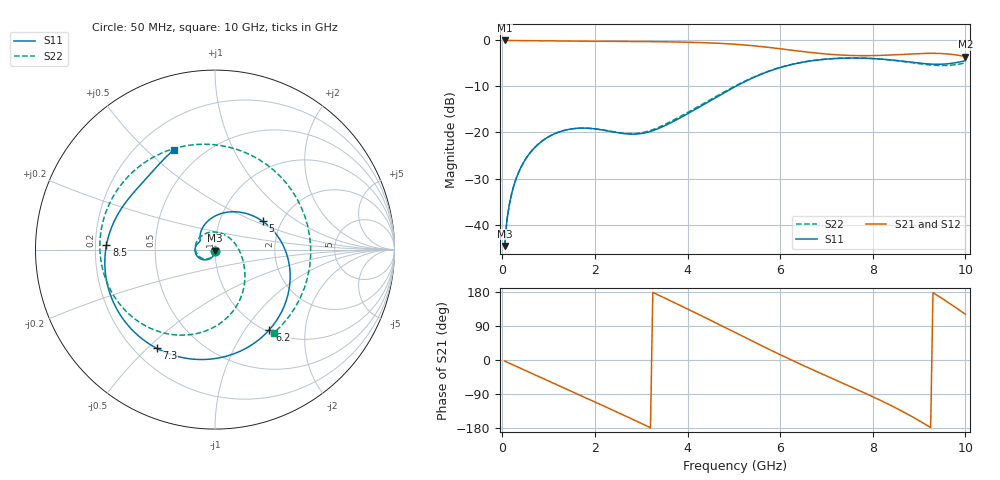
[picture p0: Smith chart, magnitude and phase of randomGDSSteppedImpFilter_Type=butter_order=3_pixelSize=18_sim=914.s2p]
! freq	dB(S11)	phase(S11)	dB(S12)	phase(S12)
!  dB(S21)	phase(S21)	dB(S22)	phase(S22)
!S-par simulation data
#  GHz  S  DB  R 50
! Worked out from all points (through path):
!   200 points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, 50 MHz to 10 GHz, reference 50 ohm
!   highest |S21| = -0.02 dB at 50 MHz (marker M1); lowest = -3.5 dB at 10 GHz (marker M2)
!   group delay of S21, straight-line fit = 163 ps
!   lowest |S11| = -44.7 dB at 50 MHz (marker M3), VSWR 1.01, Z = 50.2 - j0.564 ohm
!   |S11| at or under -10 dB: start of sweep to 5.037 GHz
!   |S22| runs from -44.7 to -3.8 dB; largest |S21 - S12| = 0
!   S11 on the Smith chart (normalised r, x): 50 MHz: 1.00, -0.01; 5 GHz: 1.60, +0.56; 6.2 GHz: 1.04, -1.30; 7.3 GHz: 0.29, -0.53; 8.5 GHz: 0.25, +0.02; 10 GHz: 0.35, +0.61
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0.05  -44.67 -74.3  -0.02 -2.8  -0.02 -2.8  -44.69 -74.3
0.1  -39.08 -84.0  -0.03 -5.6  -0.03 -5.6  -39.11 -84.5
0.2  -33.36 -94.7  -0.04 -11.2  -0.04 -11.2  -33.38 -95.9
0.5  -25.83 -114.7  -0.06 -27.8  -0.06 -27.8  -25.85 -117.7
1.15  -20.18 -149.5  -0.13 -63.7  -0.13 -63.7  -20.19 -158.4
1.75  -19.05 -177.6  -0.18 -96.8  -0.18 -96.8  -19.05 162.3
2.65  -20.27 154.4  -0.22 -147.2  -0.22 -147.2  -20.20 88.4
3.4  -19.03 138.4  -0.30 169.8  -0.30 169.8  -18.77 18.3
4.25  -14.51 89.2  -0.47 119.7  -0.47 119.7  -14.26 -32.2
5  -10.20 30.8  -0.82 74.3  -0.82 74.3  -10.06 -64.1
5.05  -9.93 26.9  -0.86 71.3  -0.86 71.3  -9.80 -66.3
5.65  -7.12 -18.2  -1.41 34.8  -1.41 34.8  -7.05 -93.6
6.2  -5.36 -55.7  -2.08 2.5  -2.08 2.5  -5.33 -120.4
6.7  -4.41 -86.7  -2.68 -25.6  -2.68 -25.6  -4.39 -145.5
7.3  -3.89 -120.7  -3.18 -58.2  -3.18 -58.2  -3.88 -176.7
7.85  -3.89 -149.8  -3.32 -88.3  -3.32 -88.3  -3.88 152.1
8.35  -4.21 -175.1  -3.19 -117.4  -3.19 -117.4  -4.23 119.1
8.5  -4.36 177.6  -3.12 -126.7  -3.12 -126.7  -4.39 107.9
8.95  -4.88 156.6  -2.89 -156.5  -2.89 -156.5  -4.99 69.0
9.4  -5.19 137.8  -2.83 170.1  -2.83 170.1  -5.45 20.3
9.7  -4.99 125.7  -3.04 145.9  -3.04 145.9  -5.38 -16.8
10  -4.41 112.2  -3.54 120.8  -3.54 120.8  -4.90 -54.9
